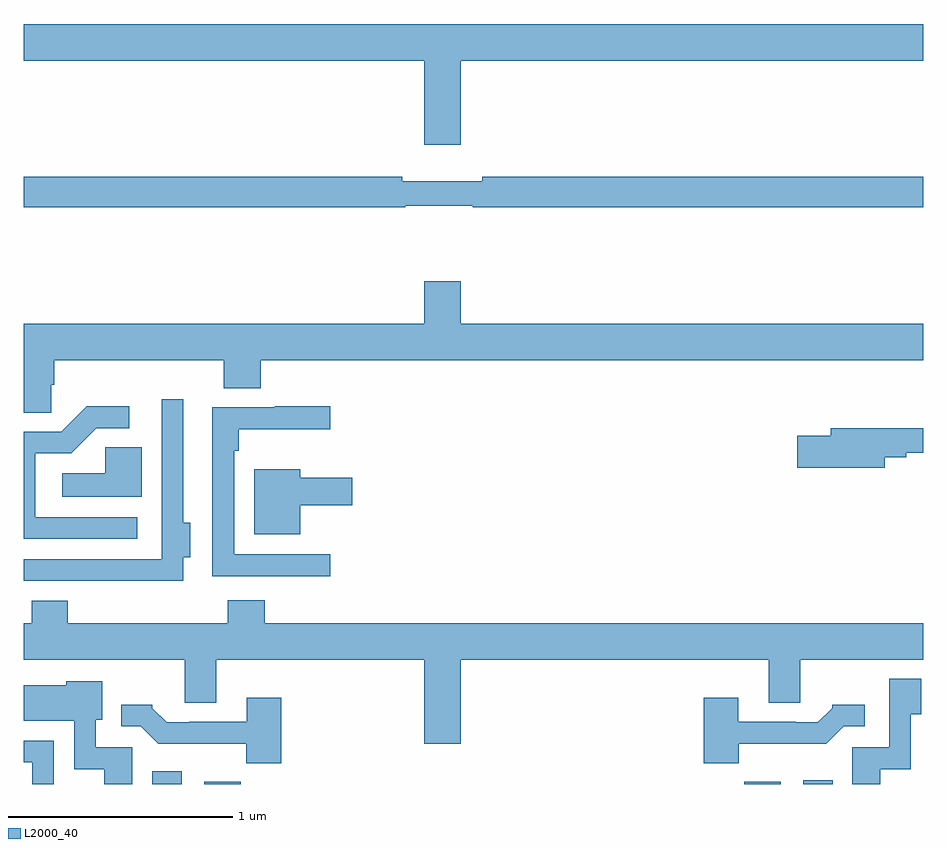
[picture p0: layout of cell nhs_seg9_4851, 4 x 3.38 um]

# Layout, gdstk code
import gdstk
lib = gdstk.Library(unit=1e-6, precision=1e-09)
def R(c, l, rs):  # rectangles x0, y0, x1, y1
    for r in rs: c.add(gdstk.rectangle(r[:2], r[2:], *l))
def P(c, l, *ps):  # polygons
    for p in ps: c.add(gdstk.Polygon(p, *l))
L2000_40 = (2000, 40)

nhs_seg9_4851 = lib.new_cell('nhs_seg9_4851')
R(nhs_seg9_4851, L2000_40, [(391.571,1230.5,391.702,1230.556), (391.802,1230.5,391.964,1230.511), (394.204,1230.5,394.366,1230.511), (394.466,1230.5,394.597,1230.517)])
P(nhs_seg9_4851, L2000_40, [(392.944,1233.716),(395,1233.716),(395,1233.88),(391,1233.88),(391,1233.716),(392.78,1233.716),(392.78,1233.342),(392.944,1233.342)],
  [(392.696,1233.072),(392.996,1233.072),(392.996,1233.064),(395,1233.064),(395,1233.2),(393.04,1233.2),(393.04,1233.181),(392.684,1233.181),(392.684,1233.2),(391,1233.2),(391,1233.064),(392.696,1233.064)],
  [(391.122,1232.275),(391.136,1232.275),(391.136,1232.384),(391.889,1232.384),(391.889,1232.26),(392.054,1232.26),(392.054,1232.384),(395,1232.384),(395,1232.548),(392.944,1232.548),(392.944,1232.737),(392.78,1232.737),(392.78,1232.548),(391,1232.548),(391,1232.152),(391.122,1232.152)],
  [(391.71,1231.508),(391.741,1231.508),(391.741,1231.661),(391.71,1231.661),(391.71,1232.212),(391.614,1232.212),(391.614,1231.5),(391,1231.5),(391,1231.404),(391.279,1231.404),(391.279,1231.403),(391.71,1231.403)],
  [(391.504,1231.686),(391.05,1231.686),(391.05,1231.971),(391.212,1231.971),(391.323,1232.082),(391.468,1232.082),(391.468,1232.18),(391.28,1232.18),(391.167,1232.067),(391,1232.067),(391,1231.59),(391.504,1231.59)],
  [(392.362,1231.521),(391.935,1231.521),(391.935,1231.982),(391.955,1231.982),(391.955,1232.078),(392.362,1232.078),(392.362,1232.179),(392.117,1232.179),(392.117,1232.175),(391.839,1232.175),(391.839,1231.425),(392.362,1231.425)],
  [(394.828,1231.954),(394.924,1231.954),(394.924,1231.973),(395,1231.973),(395,1232.083),(394.589,1232.083),(394.589,1232.049),(394.44,1232.049),(394.44,1231.907),(394.828,1231.907)],
  [(391.525,1231.997),(391.362,1231.997),(391.362,1231.882),(391.17,1231.882),(391.17,1231.778),(391.525,1231.778)],
  [(392.23,1231.739),(392.461,1231.739),(392.461,1231.861),(392.23,1231.861),(392.23,1231.9),(392.024,1231.9),(392.024,1231.61),(392.23,1231.61)],
  [(392.944,1231.052),(394.313,1231.052),(394.313,1230.862),(394.453,1230.862),(394.453,1231.052),(395,1231.052),(395,1231.216),(392.072,1231.216),(392.072,1231.318),(391.907,1231.318),(391.907,1231.216),(391.196,1231.216),(391.196,1231.315),(391.036,1231.315),(391.036,1231.216),(391,1231.216),(391,1231.052),(391.715,1231.052),(391.715,1230.862),(391.855,1230.862),(391.855,1231.052),(392.78,1231.052),(392.78,1230.678),(392.944,1230.678)],
  [(394.81,1230.566),(394.944,1230.566),(394.944,1230.811),(394.992,1230.811),(394.992,1230.967),(394.848,1230.967),(394.848,1230.663),(394.685,1230.663),(394.685,1230.5),(394.81,1230.5)],
  [(391.483,1230.663),(391.32,1230.663),(391.32,1230.786),(391.348,1230.786),(391.348,1230.958),(391.188,1230.958),(391.188,1230.94),(391,1230.94),(391,1230.782),(391.224,1230.782),(391.224,1230.566),(391.358,1230.566),(391.358,1230.5),(391.483,1230.5)],
  [(394.18,1230.678),(394.569,1230.678),(394.647,1230.756),(394.741,1230.756),(394.741,1230.853),(394.596,1230.853),(394.596,1230.838),(394.532,1230.774),(394.433,1230.774),(394.433,1230.777),(394.177,1230.777),(394.177,1230.883),(394.025,1230.883),(394.025,1230.593),(394.18,1230.593)],
  [(392.144,1230.883),(391.991,1230.883),(391.991,1230.777),(391.735,1230.777),(391.735,1230.774),(391.636,1230.774),(391.572,1230.838),(391.572,1230.853),(391.433,1230.853),(391.433,1230.756),(391.521,1230.756),(391.597,1230.68),(391.989,1230.68),(391.989,1230.593),(392.144,1230.593)],
  [(391.134,1230.693),(391,1230.693),(391,1230.597),(391.038,1230.597),(391.038,1230.5),(391.134,1230.5)])

lib.write_gds('nhs_seg9_4851.gds')
